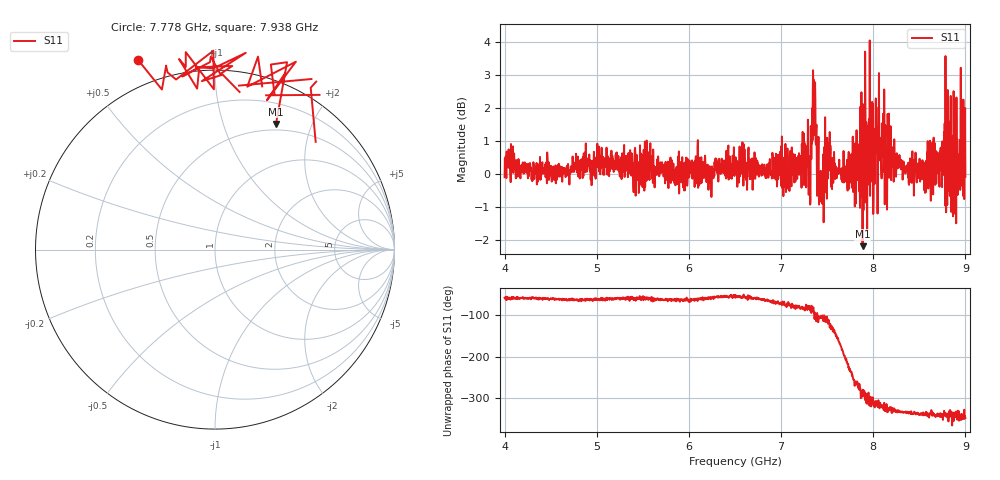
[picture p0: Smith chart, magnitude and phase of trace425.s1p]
! Created with skrf 1.8.0 (http://scikit-rf.org).
# Hz S RI R 50.0
!freq ReS11 ImS11
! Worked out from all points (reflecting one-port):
!   1601 points, 4 GHz to 9 GHz, reference 50 ohm
!   lowest |S11| = -2.2 dB at 7.884 GHz (marker M1), VSWR 8.01, Z = 21.3 + j75.6 ohm
!   phase of S11 starts at -57 deg and turns -290 deg over the sweep
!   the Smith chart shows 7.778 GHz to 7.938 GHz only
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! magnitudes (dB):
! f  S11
! 4 GHz  -0.1
! 4.066 GHz  -0.2
! 4.625 GHz  -0.2
! 5.25 GHz  -0.1
! 5.875 GHz  0.0
! 6.5 GHz  0.2
! 7.125 GHz  0.6
! 7.272 GHz  -0.4
! 7.294 GHz  1.0
! 7.319 GHz  -0.8
! 7.347 GHz  3.1
! 7.359 GHz  1.2
! 7.4 GHz  -0.6
! 7.438 GHz  -0.8
! 7.503 GHz  0.2
! 7.566 GHz  -0.3
! 7.75 GHz  0.0
! 7.884 GHz  -2.2
! 7.962 GHz  4.0
! 7.991 GHz  -0.2
! 8.044 GHz  0.6
! 8.375 GHz  0.2
! 8.694 GHz  0.3
! 8.788 GHz  -0.4
! 8.875 GHz  1.2
! 8.919 GHz  -0.3
! 8.956 GHz  0.3
! 9 GHz  -0.1
